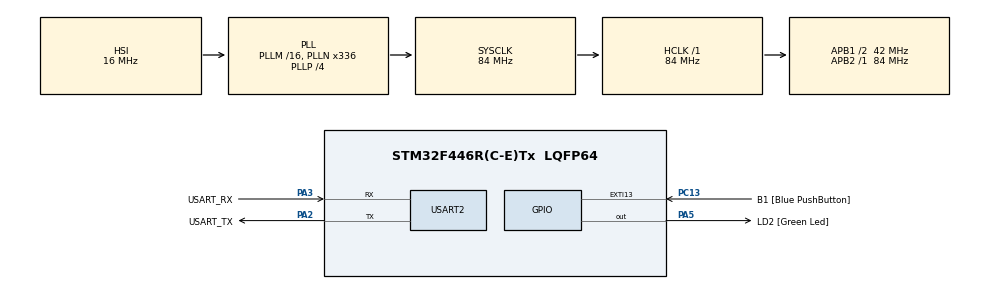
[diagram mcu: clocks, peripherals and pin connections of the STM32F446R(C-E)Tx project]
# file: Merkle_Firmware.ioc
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Mcu.Family=STM32F4
Mcu.Name=STM32F446R(C-E)Tx
Mcu.Package=LQFP64
NVIC.PriorityGroup=NVIC_PRIORITYGROUP_0
PA13.GPIO_Label=TMS
PA13.Mode=Serial_Wire
PA13.Signal=SYS_JTMS-SWDIO
PA14.GPIO_Label=TCK
PA14.Mode=Serial_Wire
PA14.Signal=SYS_JTCK-SWCLK
PA2.GPIO_Label=USART_TX
PA2.Mode=Asynchronous
PA2.Signal=USART2_TX
PA3.GPIO_Label=USART_RX
PA3.Mode=Asynchronous
PA3.Signal=USART2_RX
PA5.GPIO_Label=LD2 [Green Led]
PA5.Signal=GPIO_Output
PB3.GPIO_Label=SWO
PB3.Signal=SYS_JTDO-SWO
PC13.GPIO_Label=B1 [Blue PushButton]
PC13.GPIO_ModeDefaultEXTI=GPIO_MODE_IT_FALLING
PC13.Signal=GPXTI13
PC14-OSC32_IN.Mode=LSE-External-Oscillator
PC14-OSC32_IN.Signal=RCC_OSC32_IN
PC15-OSC32_OUT.Mode=LSE-External-Oscillator
PC15-OSC32_OUT.Signal=RCC_OSC32_OUT
PH0-OSC_IN.Mode=HSE-External-Oscillator
PH0-OSC_IN.Signal=RCC_OSC_IN
PH1-OSC_OUT.Mode=HSE-External-Oscillator
PH1-OSC_OUT.Signal=RCC_OSC_OUT
ProjectManager.HeapSize=0x200
ProjectManager.StackSize=0x400
ProjectManager.TargetToolchain=STM32CubeIDE
RCC.48MHZClocksFreq_Value=84000000
RCC.AHBFreq_Value=84000000
RCC.APB1CLKDivider=RCC_HCLK_DIV2
RCC.APB1Freq_Value=42000000
RCC.APB1TimFreq_Value=84000000
RCC.APB2Freq_Value=84000000
RCC.APB2TimFreq_Value=84000000
RCC.CortexFreq_Value=84000000
RCC.FLatency-AdvancedSettings=FLASH_LATENCY_2
RCC.HCLKFreq_Value=84000000
RCC.HSE_VALUE=8000000
RCC.HSI_VALUE=16000000
RCC.PLLN=336
RCC.PLLP=RCC_PLLP_DIV4
RCC.SYSCLKFreq_VALUE=84000000
RCC.SYSCLKSource=RCC_SYSCLKSOURCE_PLLCLK
RCC.USBFreq_Value=168000000
RCC.VCOOutputFreq_Value=336000000
USART2.VirtualMode=VM_ASYNC
VP_CRC_VS_CRC.Mode=CRC_Activate
board=NUCLEO-F446RE

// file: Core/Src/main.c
/* USER CODE BEGIN Header */
/**
  ******************************************************************************
  * @file           : main.c
  * @brief          : Main program body
  ******************************************************************************
  * @attention
  *
  * Copyright (c) 2026 STMicroelectronics.
  * All rights reserved.
  *
  * This software is licensed under terms that can be found in the LICENSE file
  * in the root directory of this software component.
  * If no LICENSE file comes with this software, it is provided AS-IS.
  *
  ******************************************************************************
  */
/* USER CODE END Header */
#include "main.h"

/* USER CODE BEGIN PD */
#define BUILD_TIER2   /* Running as Tier 2 recovery bootloader */
/* USER CODE END PD */

CRC_HandleTypeDef hcrc;

UART_HandleTypeDef huart2;

void SystemClock_Config(void);
static void MX_GPIO_Init(void);
static void MX_USART2_UART_Init(void);
static void MX_CRC_Init(void);

/* USER CODE BEGIN 0 */
#include "merkle_verify.h"
#include "uart_proto.h"
#include "flash_writer.h"
#include "otp_counter.h"
#include "../../Lib/sha256_sw.h"   /* Ablation benchmark only — not used in OTA path */
#include <string.h>
#include <stdio.h>

/* Default: this binary is the Tier 2 OTA bootloader.
   Override with -DBUILD_TIER1 or -DBUILD_TIER3 in compiler flags.
   This ensures the bootloader always works even if CubeIDE regenerates
   the makefile and drops the -DBUILD_TIER2 flag. */
#if !defined(BUILD_TIER1) && !defined(BUILD_TIER2) && !defined(BUILD_TIER3) && !defined(LOOPBACK_TEST)
#define BUILD_TIER2
#endif

#if defined(BUILD_TIER1)
// --- TIER 1 ---
#define TIER2_BASE      0x08004000UL
#define TIER2_SIZE      (16U * 1024U)
#define TIER2_SIG_OFFSET (TIER2_SIZE - 64U)
static const uint8_t OEM_PUBKEY[64] = { 0 };
static int ecdsa_verify_stub(const uint8_t *pubkey, const uint8_t *hash32, const uint8_t *sig64) { return 1; }
static void sha256_tier2(uint8_t *digest32) { memset(digest32, 0, 32); }
static void jump_to(uint32_t base) {
    uint32_t sp = *(volatile uint32_t*)(base);
    uint32_t pc = *(volatile uint32_t*)(base + 4);
    SCB->VTOR = base;
    __set_MSP(sp);
    ((void(*)(void))pc)();
}

#elif defined(BUILD_TIER2) || defined(LOOPBACK_TEST)
// --- TIER 2 ---
#define TIER3_BASE       0x08008000UL
#define TIER3_MAX_BLOCKS 120U          /* 120 x 4KB = 480KB (Sector 2 through 7 entirely) */

static uint8_t  rx_buf[BLOCK_SIZE + 2 + MAX_PROOF_DEPTH * HASH_LEN + 16];
static uint16_t failed[TIER3_MAX_BLOCKS];

static uint16_t read_num_blocks(void) { return *(volatile uint16_t*)META_NBLOCKS_ADDR; }
static uint32_t read_version(void) { return *(volatile uint32_t*)META_VERSION_ADDR; }
static hash_t* stored_leaves(void) { return (hash_t*)META_LEAVES_ADDR; }
static hash_t* stored_root(void) { return (hash_t*)META_ROOT_ADDR; }

static bool receive_ota(void) {
    uint8_t type; uint16_t len;

    flash_writer_session_reset();

    printf("[T2] Waiting for OTA_START...\r\n");
    while (1) {
        proto_send(MSG_READY, NULL, 0);
        if (proto_recv(&type, rx_buf, sizeof(rx_buf), &len, 1000)) {
            if (type == MSG_OTA_START) break;
        }
    }

    uint32_t version    = *(uint32_t*)(rx_buf + 0);
    uint16_t num_blocks = *(uint16_t*)(rx_buf + 4);
    hash_t root;
    memcpy(root.h, rx_buf + 6, HASH_LEN);

    if (num_blocks > TIER3_MAX_BLOCKS) {
        proto_nack();
        return false;
    }

    if (!flash_init_metadata(version, num_blocks, &root)) {
        proto_nack();
        return false;
    }

    proto_ack();

    static hash_t leaf_store[TIER3_MAX_BLOCKS];
    while (1) {
        if (!proto_recv(&type, rx_buf, sizeof(rx_buf), &len, 100000)) return false;
        if (type == MSG_OTA_START) NVIC_SystemReset(); /* Server aborted and restarted */
        if (type == MSG_OTA_END) break;
        if (type != MSG_BLOCK)  { proto_nack(); continue; }

        uint16_t bid = *(uint16_t*)(rx_buf + 0);
        uint8_t *data = rx_buf + 2;
        hash_t *proof = (hash_t*)(rx_buf + 2 + BLOCK_SIZE);
        if (bid >= num_blocks) { proto_nack(); continue; }

        hash_t leaf; merkle_leaf(&leaf, data, bid, version);
        uint8_t depth = 0; while ((1<<depth) < num_blocks) depth++;
        if (!merkle_verify(&leaf, bid, proof, depth, &root)) { proto_nack(); continue; }

        uint32_t addr = TIER3_BASE + (uint32_t)bid * BLOCK_SIZE;
        if (!flash_write_block(addr, data, BLOCK_SIZE)) { proto_nack(); continue; }
        if (!flash_update_leaf(bid, &leaf)) { proto_nack(); continue; }

        memcpy(leaf_store[bid].h, leaf.h, HASH_LEN);
        proto_ack();
    }

    flash_mark_complete();
    proto_send(MSG_OTA_COMPLETE, NULL, 0);
    return true;
}

static bool do_recovery(void) {
    /* Tell flash_writer to skip erasing sectors, because this is a
       recovery and the sectors were already erased during OTA_START.
       Erasing them now would wipe intact blocks! */
    flash_writer_skip_erases();

    /* First check: valid metadata must start with the magic word.
       If flash was never written by this bootloader (e.g. freshly flashed
       MCU, stale code bytes from old -O0 build), magic won't match and
       we safely fall into a fresh OTA without crashing. */
    uint32_t magic = *(volatile uint32_t*)META_MAGIC_ADDR;
    if (magic != META_MAGIC_VALUE) return receive_ota();

    uint16_t num_blocks = read_num_blocks();
    uint32_t version = read_version();
    if (num_blocks == 0xFFFF || num_blocks == 0) return receive_ota();

    uint32_t status = *(volatile uint32_t*)META_STATUS_ADDR;
    uint16_t nfail = 0;

    if (status == META_STATUS_COMPLETE) {
        nfail = merkle_scan(TIER3_BASE, num_blocks, version, stored_leaves(), failed);
        if (nfail == 0) return true;
        /* Flash corrupted after complete, fall through to block req */
    } else {
        /* IN_PROGRESS: calculate missing blocks directly from leaves without scanning */
        const hash_t *meta_leaves = stored_leaves();
        for (int i = 0; i < num_blocks; i++) {
            bool empty = true;
            for (int j=0; j<32; j++) { if (meta_leaves[i].h[j] != 0xFF) empty = false; }
            if (empty) {
                failed[nfail++] = i;
            }
        }
        if (nfail == 0) {
            flash_mark_complete();
            return true;
        }
        /* If ALL blocks are missing, no progress was ever made.
           Treat this exactly like a fresh start so a re-run of the server
           with a different binary (different root) works correctly. */
        if (nfail == num_blocks) {
            return receive_ota();
        }
    }

    /* Prepare and send the block request */
    static uint8_t req_buf[2 + TIER3_MAX_BLOCKS * 2];

    req_buf[0] = nfail & 0xFF;
    req_buf[1] = (nfail >> 8) & 0xFF;
    for (int i = 0; i < nfail; i++) {
        req_buf[2 + i*2] = failed[i] & 0xFF;
        req_buf[2 + i*2+1] = (failed[i] >> 8) & 0xFF;
    }

    printf("[T2] Requesting %d blocks...\r\n", nfail);
    uint8_t type; uint16_t len;
    while (1) {
        proto_send(MSG_BLOCK_REQ, req_buf, 2 + nfail * 2);
        if (proto_recv(&type, rx_buf, sizeof(rx_buf), &len, 3000)) {
            if (type == MSG_OTA_START) return receive_ota(); /* New firmware from server */
            if (type == MSG_BLOCK) break;
        }
    }

    /* We successfully received the FIRST block out of nfail. Process it! */
    uint16_t bid = *(uint16_t*)(rx_buf + 0);
    uint8_t *data = rx_buf + 2;
    hash_t *proof = (hash_t*)(rx_buf + 2 + BLOCK_SIZE);
    hash_t *root = stored_root();
    uint8_t depth = 0; while ((1<<depth) < num_blocks) depth++;

    hash_t leaf; merkle_leaf(&leaf, data, bid, version);
    if (merkle_verify(&leaf, bid, proof, depth, root)) {
        uint32_t addr = TIER3_BASE + (uint32_t)bid * BLOCK_SIZE;
        if (flash_write_block(addr, data, BLOCK_SIZE)) {
            flash_update_leaf(bid, &leaf);
            proto_ack();
        } else { proto_nack(); }
    } else { proto_nack(); }

    /* Process the REMAINING (nfail - 1) blocks normally without blasting MSG_BLOCK_REQ */
    for (int r = 1; r < nfail; r++) {
        if (!proto_recv(&type, rx_buf, sizeof(rx_buf), &len, 100000)) return false;
        if (type == MSG_OTA_START) NVIC_SystemReset(); /* Server aborted */
        if (type != MSG_BLOCK) return false;

        bid = *(uint16_t*)(rx_buf + 0);
        data = rx_buf + 2;
        proof = (hash_t*)(rx_buf + 2 + BLOCK_SIZE);

        merkle_leaf(&leaf, data, bid, version);
        if (!merkle_verify(&leaf, bid, proof, depth, root)) {
            proto_nack(); r--; continue;
        }
        uint32_t addr = TIER3_BASE + (uint32_t)bid * BLOCK_SIZE;
        if (!flash_write_block(addr, data, BLOCK_SIZE)) {
            proto_nack(); r--; continue;
        }
        if (!flash_update_leaf(bid, &leaf)) {
            proto_nack(); r--; continue;
        }
        proto_ack();
    }

    /* Wait for MSG_OTA_END from server before completing */
    while (1) {
        if (proto_recv(&type, rx_buf, sizeof(rx_buf), &len, 5000)) {
            if (type == MSG_OTA_END) {
                break;
            }
        }
    }

    flash_mark_complete();
    proto_send(MSG_OTA_COMPLETE, NULL, 0);
    return true;
}

/* Call this after OTA_COMPLETE, before jumping to Tier 3 */
static void flash_verify_server_mode(uint16_t num_blocks)
{
    printf("[T2] Entering flash verify mode...\r\n");
    uint8_t type;
    uint16_t len;
    static uint8_t rx[8];

    for (;;) {
        if (!proto_recv(&type, rx, sizeof(rx), &len, 100000)) break;
        if (type != MSG_READ_REQ) break;

        uint16_t bid = rx[0] | ((uint16_t)rx[1] << 8);
        if (bid >= num_blocks) break;

        uint8_t *block_ptr = (uint8_t*)(TIER3_BASE + bid * BLOCK_SIZE);
        proto_send(MSG_READ_RESP, block_ptr, BLOCK_SIZE);
    }
    printf("[T2] Verify mode done.\r\n");
}

static void jump_tier3(void) {
    uint32_t sp = *(volatile uint32_t*)TIER3_BASE;
    uint32_t pc = *(volatile uint32_t*)(TIER3_BASE + 4);
    SCB->VTOR = TIER3_BASE;
    __set_MSP(sp);
    ((void(*)(void))pc)();
}

#elif defined(BUILD_TIER3)
// --- TIER 3 ---
#endif

#ifndef APP_VERSION
#define APP_VERSION 1
#endif

/* USER CODE END 0 */

int main(void)
{

  HAL_Init();
  SystemClock_Config();
  MX_GPIO_Init();
  MX_USART2_UART_Init();
  MX_CRC_Init();

  /* USER CODE BEGIN 2 */
#if defined(BUILD_TIER1)
    printf("\r\n[T1] Tier 1 ROM Bootloader\r\n");
    uint8_t digest[32];
    sha256_tier2(digest);
    uint8_t *sig = (uint8_t*)(TIER2_BASE + TIER2_SIG_OFFSET);
    if (ecdsa_verify_stub(OEM_PUBKEY, digest, sig)) {
        printf("[T1] Tier 2 OK — jumping\r\n");
        jump_to(TIER2_BASE);
    } else {
        printf("[T1] Tier 2 INVALID — halting\r\n");
        while (1) { HAL_Delay(300); }
    }
#elif defined(BUILD_TIER2) || defined(LOOPBACK_TEST)
    printf("\r\n[T2] Tier 2 Bootloader — Merkle Recovery\r\n");

    uint32_t stored_ver = otp_read_version();
    uint32_t fw_ver = read_version();
    if (fw_ver != 0xFFFFFFFF && fw_ver < stored_ver) {
        printf("[T2] ROLLBACK BLOCKED\r\n");
        /* Temporarily disabled for benchmark measurements */
        // while (1) { HAL_Delay(500); HAL_GPIO_TogglePin(LD2_GPIO_Port, LD2_Pin); }
    }

    if (!do_recovery()) {
        printf("[T2] Recovery failed. Halting.\r\n");
        while (1) { HAL_Delay(200); HAL_GPIO_TogglePin(LD2_GPIO_Port, LD2_Pin); }
    }
    if (fw_ver != 0xFFFFFFFF) otp_update_version(fw_ver);

    /* --- Run Table 2 Measurements --- */
    printf("\r\n--- TABLE 2 BENCHMARKS ---\r\n");
    CoreDebug->DEMCR |= CoreDebug_DEMCR_TRCENA_Msk;
    DWT->CTRL  |= DWT_CTRL_CYCCNTENA_Msk;

    uint32_t t_start, t_end;
    uint32_t ms_int, ms_frac;

    // 1. Leaf Hash Time (4KB block)
    static uint8_t dummy_block[BLOCK_SIZE];
    hash_t dummy_leaf;
    DWT->CYCCNT = 0; t_start = DWT->CYCCNT;
    merkle_leaf(&dummy_leaf, dummy_block, 0, 1);
    t_end = DWT->CYCCNT;
    ms_int = (t_end - t_start) / 180000;
    ms_frac = ((t_end - t_start) % 180000) * 1000 / 180000;
    printf("1. Leaf hash (4KB, SHAKE-256) : %lu.%03lu ms\r\n", ms_int, ms_frac);

    // 2. Proof Verify (depth=7 for 128 blocks)
    hash_t dummy_proof[7];
    hash_t dummy_root;
    DWT->CYCCNT = 0; t_start = DWT->CYCCNT;
    merkle_verify(&dummy_leaf, 0, dummy_proof, 7, &dummy_root);
    t_end = DWT->CYCCNT;
    ms_int = (t_end - t_start) / 180000;
    ms_frac = ((t_end - t_start) % 180000) * 1000 / 180000;
    printf("2. Proof verify (depth=7)     : %lu.%03lu ms\r\n", ms_int, ms_frac);

    // 3. Proof Verify (depth=8 for 256 blocks)
    hash_t dummy_proof8[8];
    DWT->CYCCNT = 0; t_start = DWT->CYCCNT;
    merkle_verify(&dummy_leaf, 0, dummy_proof8, 8, &dummy_root);
    t_end = DWT->CYCCNT;
    ms_int = (t_end - t_start) / 180000;
    ms_frac = ((t_end - t_start) % 180000) * 1000 / 180000;
    printf("3. Proof verify (depth=8)     : %lu.%03lu ms\r\n", ms_int, ms_frac);

    // 4. Merkle Scan (Extrapolate to 128 blocks from one block scan)
    DWT->CYCCNT = 0; t_start = DWT->CYCCNT;
    for(int i=0; i<128; i++) {
        merkle_leaf(&dummy_leaf, dummy_block, 0, 1);
    }
    t_end = DWT->CYCCNT;
    ms_int = (t_end - t_start) / 180000;
    ms_frac = ((t_end - t_start) % 180000) * 1000 / 180000;
    printf("4. Full scan time (128 blocks): %lu.%03lu ms\r\n", ms_int, ms_frac);
    printf("----------------------------\r\n\r\n");

    /* --- Run SHA-256 Ablation Benchmarks (TABLE 2B) --- */
    printf("--- SHA-256 ABLATION BENCHMARKS ---\r\n");

    /* Helper inline: SHA-256 of (block || block_id(2B LE) || version(4B LE))
       Mirrors exactly the merkle_leaf() domain separation used by SHAKE-256. */
    static uint8_t sha_tmp[BLOCK_SIZE + 6];  /* same layout as merkle_leaf's tmp[] */
    uint8_t sha_digest[32];
    sha256_ctx_t sha_ctx;

    /* 1. SHA-256 Leaf Hash: hash 4KB block + 6 bytes domain suffix */
    memset(sha_tmp, 0, sizeof(sha_tmp));  /* dummy_block contents (all-zero same as SHAKE test) */
    sha_tmp[BLOCK_SIZE + 0] = 0;          /* block_id = 0, LE */
    sha_tmp[BLOCK_SIZE + 1] = 0;
    sha_tmp[BLOCK_SIZE + 2] = 1;          /* version = 1, LE */
    sha_tmp[BLOCK_SIZE + 3] = 0;
    sha_tmp[BLOCK_SIZE + 4] = 0;
    sha_tmp[BLOCK_SIZE + 5] = 0;

    DWT->CYCCNT = 0; t_start = DWT->CYCCNT;
    sha256_init(&sha_ctx);
    sha256_update(&sha_ctx, sha_tmp, BLOCK_SIZE + 6);
    sha256_final(&sha_ctx, sha_digest);
    t_end = DWT->CYCCNT;
    ms_int  = (t_end - t_start) / 180000;
    ms_frac = ((t_end - t_start) % 180000) * 1000 / 180000;
    printf("A. Leaf hash (4KB, SHA-256)   : %lu.%03lu ms\r\n", ms_int, ms_frac);

    /* 2. SHA-256 Proof Verify (depth=7): 7 calls of sha256 over 64-byte node pairs.
       Mirror merkle_verify(): at each level we hash (left||right) = 64 bytes. */
    uint8_t node_pair[64];  /* two 32-byte hashes concatenated */
    memcpy(node_pair,      sha_digest, 32);  /* current = leaf digest */
    memset(node_pair + 32, 0xAB, 32);        /* dummy sibling proof hash */

    DWT->CYCCNT = 0; t_start = DWT->CYCCNT;
    for (int lvl = 0; lvl < 7; lvl++) {
        /* At each level: hash(current || sibling) or hash(sibling || current).
           Both are 64-byte inputs — same cost either way. */
        sha256_oneshot(node_pair, 64, sha_digest);   /* result is new node */
        /* Feed result back as left input for next level */
        memcpy(node_pair, sha_digest, 32);
    }
    t_end = DWT->CYCCNT;
    ms_int  = (t_end - t_start) / 180000;
    ms_frac = ((t_end - t_start) % 180000) * 1000 / 180000;
    printf("B. Proof verify (depth=7)     : %lu.%03lu ms\r\n", ms_int, ms_frac);

    /* 3. SHA-256 Full Scan: 128 leaf hashes (same loop as SHAKE-256 test above) */
    DWT->CYCCNT = 0; t_start = DWT->CYCCNT;
    for (int i = 0; i < 128; i++) {
        sha256_init(&sha_ctx);
        sha256_update(&sha_ctx, sha_tmp, BLOCK_SIZE + 6);
        sha256_final(&sha_ctx, sha_digest);
    }
    t_end = DWT->CYCCNT;
    ms_int  = (t_end - t_start) / 180000;
    ms_frac = ((t_end - t_start) % 180000) * 1000 / 180000;
    printf("C. Full scan (128 x SHA-256)  : %lu.%03lu ms\r\n", ms_int, ms_frac);
    printf("-----------------------------------\r\n\r\n");

    /* Firmware is healthy. Give the server a 10-second window to start
       a NEW OTA update before we boot into the application. */
    printf("[T2] Firmware healthy. Advertising for 10 seconds...\r\n");
    uint8_t ota_type; uint16_t ota_len;
    for (int i = 0; i < 20; i++) { /* 20 * 500ms = 10s */
        proto_send(MSG_READY, NULL, 0);
        if (proto_recv(&ota_type, rx_buf, sizeof(rx_buf), &ota_len, 500)) {
            if (ota_type == MSG_OTA_START) {
                printf("[T2] Server initiated new OTA update!\r\n");
                /* Invalidate the metadata so receive_ota() treats it as fresh. */
                HAL_FLASH_Unlock();
                HAL_FLASH_Program(FLASH_TYPEPROGRAM_WORD, META_MAGIC_ADDR, 0x00000000);
                HAL_FLASH_Lock();
                /* We consumed OTA_START, so let's NACK it and let the server retry.
                   When receive_ota() runs, the server's retry will trigger it. */
                proto_nack();
                receive_ota();
                break;
            }
        }
    }

    flash_verify_server_mode(read_num_blocks());

    printf("[T2] Jumping to Tier 3...\r\n");
    HAL_Delay(100);
    jump_tier3();
#else
    printf("\r\n[T3] Application booted — OTA successful!\r\n");
    printf("[T3] Version: %lu\r\n", (unsigned long)APP_VERSION);
#endif
  /* USER CODE END 2 */

  /* Infinite loop */
  /* USER CODE BEGIN WHILE */
  while (1)
  {
#if !defined(BUILD_TIER1) && !defined(BUILD_TIER2) && !defined(LOOPBACK_TEST)
    HAL_GPIO_TogglePin(LD2_GPIO_Port, LD2_Pin);
    HAL_Delay(500);
    printf("[T3] Running...\r\n");
#endif
    /* USER CODE END WHILE */
  }
}

void SystemClock_Config(void)
{
  RCC_OscInitTypeDef RCC_OscInitStruct = {0};
  RCC_ClkInitTypeDef RCC_ClkInitStruct = {0};

  /** Configure the main internal regulator output voltage
  */
  __HAL_RCC_PWR_CLK_ENABLE();
  __HAL_PWR_VOLTAGESCALING_CONFIG(PWR_REGULATOR_VOLTAGE_SCALE3);

  /** Initializes the RCC Oscillators according to the specified parameters
  * in the RCC_OscInitTypeDef structure.
  */
  RCC_OscInitStruct.OscillatorType = RCC_OSCILLATORTYPE_HSI;
  RCC_OscInitStruct.HSIState = RCC_HSI_ON;
  RCC_OscInitStruct.HSICalibrationValue = RCC_HSICALIBRATION_DEFAULT;
  RCC_OscInitStruct.PLL.PLLState = RCC_PLL_ON;
  RCC_OscInitStruct.PLL.PLLSource = RCC_PLLSOURCE_HSI;
  RCC_OscInitStruct.PLL.PLLM = 16;
  RCC_OscInitStruct.PLL.PLLN = 336;
  RCC_OscInitStruct.PLL.PLLP = RCC_PLLP_DIV4;
  RCC_OscInitStruct.PLL.PLLQ = 2;
  RCC_OscInitStruct.PLL.PLLR = 2;
  if (HAL_RCC_OscConfig(&RCC_OscInitStruct) != HAL_OK)
  {
    Error_Handler();
  }

  /** Initializes the CPU, AHB and APB buses clocks
  */
  RCC_ClkInitStruct.ClockType = RCC_CLOCKTYPE_HCLK|RCC_CLOCKTYPE_SYSCLK
                              |RCC_CLOCKTYPE_PCLK1|RCC_CLOCKTYPE_PCLK2;
  RCC_ClkInitStruct.SYSCLKSource = RCC_SYSCLKSOURCE_PLLCLK;
  RCC_ClkInitStruct.AHBCLKDivider = RCC_SYSCLK_DIV1;
  RCC_ClkInitStruct.APB1CLKDivider = RCC_HCLK_DIV2;
  RCC_ClkInitStruct.APB2CLKDivider = RCC_HCLK_DIV1;

  if (HAL_RCC_ClockConfig(&RCC_ClkInitStruct, FLASH_LATENCY_2) != HAL_OK)
  {
    Error_Handler();
  }
}

static void MX_CRC_Init(void)
{

  hcrc.Instance = CRC;
  if (HAL_CRC_Init(&hcrc) != HAL_OK)
  {
    Error_Handler();
  }

}

static void MX_USART2_UART_Init(void)
{

  huart2.Instance = USART2;
  huart2.Init.BaudRate = 115200;
  huart2.Init.WordLength = UART_WORDLENGTH_8B;
  huart2.Init.StopBits = UART_STOPBITS_1;
  huart2.Init.Parity = UART_PARITY_NONE;
  huart2.Init.Mode = UART_MODE_TX_RX;
  huart2.Init.HwFlowCtl = UART_HWCONTROL_NONE;
  huart2.Init.OverSampling = UART_OVERSAMPLING_16;
  if (HAL_UART_Init(&huart2) != HAL_OK)
  {
    Error_Handler();
  }

}

static void MX_GPIO_Init(void)
{
  GPIO_InitTypeDef GPIO_InitStruct = {0};

  /* GPIO Ports Clock Enable */
  __HAL_RCC_GPIOC_CLK_ENABLE();
  __HAL_RCC_GPIOH_CLK_ENABLE();
  __HAL_RCC_GPIOA_CLK_ENABLE();
  __HAL_RCC_GPIOB_CLK_ENABLE();

  /*Configure GPIO pin Output Level */
  HAL_GPIO_WritePin(LD2_GPIO_Port, LD2_Pin, GPIO_PIN_RESET);

  /*Configure GPIO pin : B1_Pin */
  GPIO_InitStruct.Pin = B1_Pin;
  GPIO_InitStruct.Mode = GPIO_MODE_IT_FALLING;
  GPIO_InitStruct.Pull = GPIO_NOPULL;
  HAL_GPIO_Init(B1_GPIO_Port, &GPIO_InitStruct);

  /*Configure GPIO pin : LD2_Pin */
  GPIO_InitStruct.Pin = LD2_Pin;
  GPIO_InitStruct.Mode = GPIO_MODE_OUTPUT_PP;
  GPIO_InitStruct.Pull = GPIO_NOPULL;
  GPIO_InitStruct.Speed = GPIO_SPEED_FREQ_LOW;
  HAL_GPIO_Init(LD2_GPIO_Port, &GPIO_InitStruct);

}

void Error_Handler(void)
{
  __disable_irq();
  while (1)
  {
  }
}
